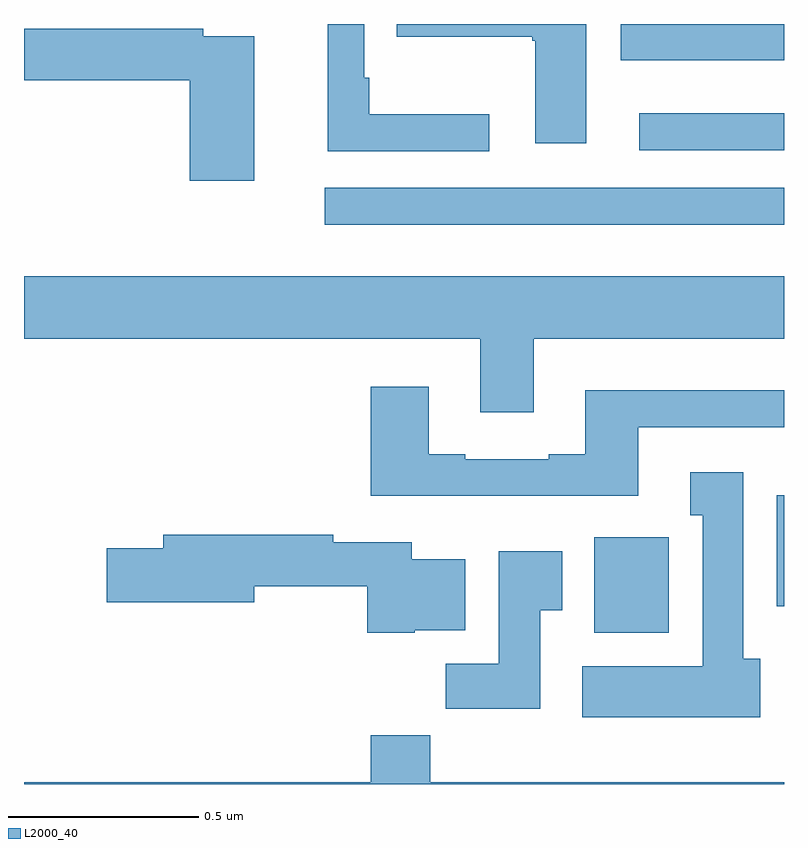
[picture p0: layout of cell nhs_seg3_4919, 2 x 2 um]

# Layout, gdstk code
import gdstk
lib = gdstk.Library(unit=1e-6, precision=1e-09)
def R(c, l, rs):  # rectangles x0, y0, x1, y1
    for r in rs: c.add(gdstk.rectangle(r[:2], r[2:], *l))
def P(c, l, *ps):  # polygons
    for p in ps: c.add(gdstk.Polygon(p, *l))
L2000_40 = (2000, 40)

nhs_seg3_4919 = lib.new_cell('nhs_seg3_4919')
R(nhs_seg3_4919, L2000_40, [(173.501,710.798,173.697,711.049), (173.981,710.868,174,711.16), (172.791,711.872,174,711.969), (173.619,712.068,174,712.165), (173.57,712.304,174,712.4)])
P(nhs_seg3_4919, L2000_40, [(173.224,712.163),(172.909,712.163),(172.909,712.258),(172.896,712.258),(172.896,712.4),(172.799,712.4),(172.799,712.065),(173.224,712.065)],
  [(173.479,712.4),(172.981,712.4),(172.981,712.367),(173.338,712.367),(173.338,712.356),(173.345,712.356),(173.345,712.086),(173.479,712.086)],
  [(172.606,712.368),(172.472,712.368),(172.472,712.388),(172,712.388),(172,712.252),(172.436,712.252),(172.436,711.987),(172.606,711.987)],
  [(173.341,711.572),(174,711.572),(174,711.736),(172,711.736),(172,711.572),(173.201,711.572),(173.201,711.378),(173.341,711.378)],
  [(173.617,711.339),(174,711.339),(174,711.436),(173.477,711.436),(173.477,711.268),(173.381,711.268),(173.381,711.255),(173.161,711.255),(173.161,711.268),(173.065,711.268),(173.065,711.445),(172.913,711.445),(172.913,711.158),(173.617,711.158)],
  [(173.938,710.73),(173.893,710.73),(173.893,711.22),(173.753,711.22),(173.753,711.107),(173.786,711.107),(173.786,710.71),(173.469,710.71),(173.469,710.576),(173.938,710.576)],
  [(173.028,710.804),(173.161,710.804),(173.161,710.992),(173.02,710.992),(173.02,711.036),(172.814,711.036),(172.814,711.056),(172.367,711.056),(172.367,711.02),(172.218,711.02),(172.218,710.878),(172.606,710.878),(172.606,710.92),(172.903,710.92),(172.903,710.798),(173.028,710.798)],
  [(173.359,710.857),(173.416,710.857),(173.416,711.013),(173.249,711.013),(173.249,710.716),(173.11,710.716),(173.11,710.598),(173.359,710.598)],
  [(172,710.4),(174,710.4),(174,710.404),(173.069,710.404),(173.069,710.528),(172.913,710.528),(172.913,710.404),(172,710.404)])

lib.write_gds('nhs_seg3_4919.gds')
